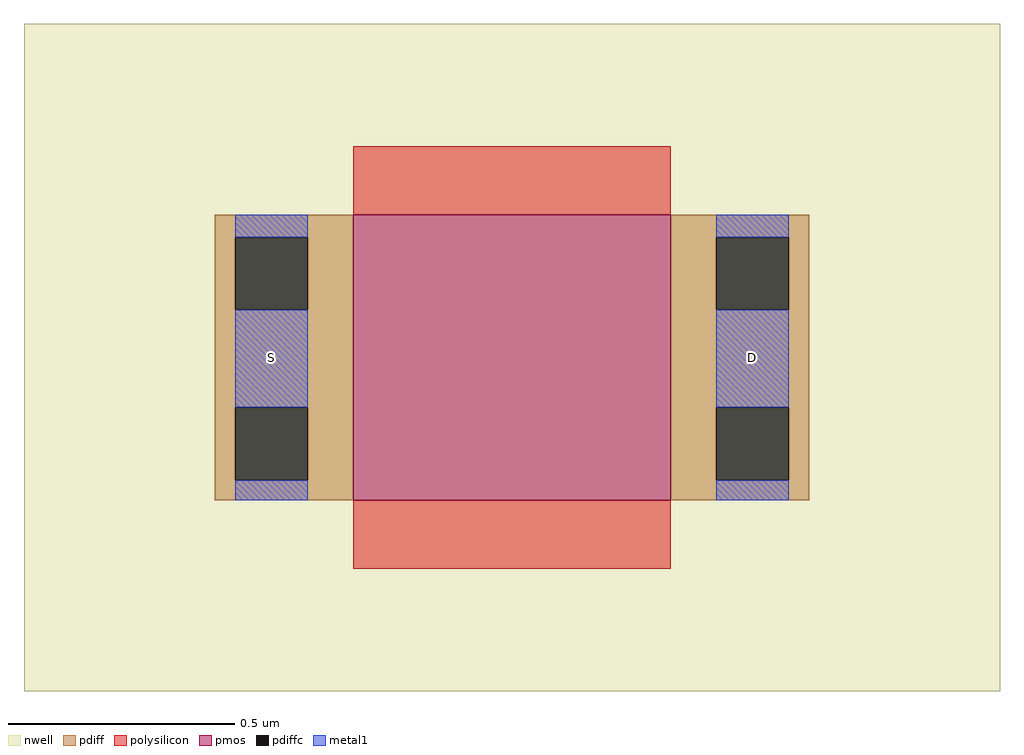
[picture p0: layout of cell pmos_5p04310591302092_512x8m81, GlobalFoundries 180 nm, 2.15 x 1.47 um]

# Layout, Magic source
magic
tech gf180mcuD
magscale 1 10
<< nwell >>
rect -145 -84 285 210
<< pmos >>
rect 0 0 140 126
<< pdiff >>
rect -61 116 0 126
rect -61 84 -52 116
rect -20 84 0 116
rect -61 41 0 84
rect -61 9 -52 41
rect -20 9 0 41
rect -61 0 0 9
rect 140 116 201 126
rect 140 84 160 116
rect 192 84 201 116
rect 140 41 201 84
rect 140 9 160 41
rect 192 9 201 41
rect 140 0 201 9
<< pdiffc >>
rect -52 84 -20 116
rect -52 9 -20 41
rect 160 84 192 116
rect 160 9 192 41
<< polysilicon >>
rect 0 126 140 156
rect 0 -30 140 0
<< metal1 >>
rect -52 116 -20 126
rect -52 41 -20 84
rect -52 0 -20 9
rect 160 116 192 126
rect 160 41 192 84
rect 160 0 192 9
<< labels >>
flabel metal1 -36 63 -36 63 0 FreeSans 280 0 0 0 S
flabel metal1 176 63 176 63 0 FreeSans 280 0 0 0 D
<< end >>
